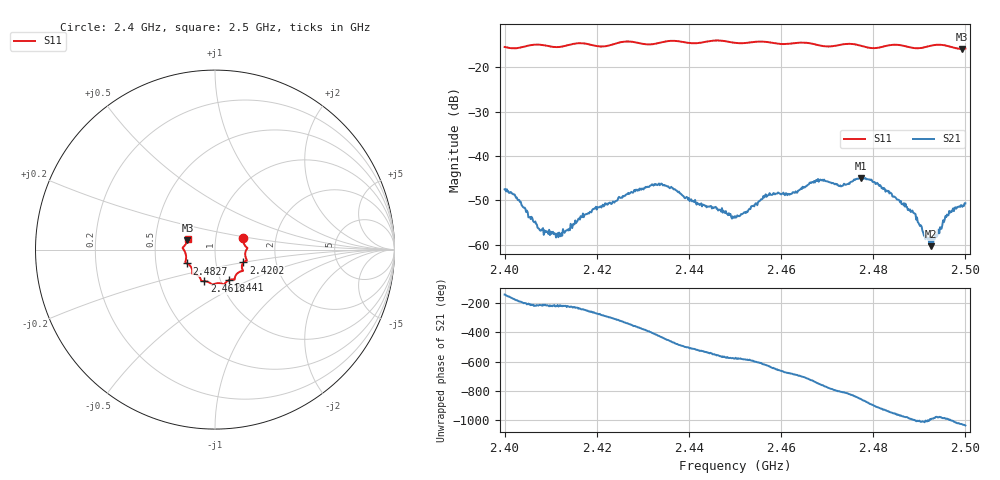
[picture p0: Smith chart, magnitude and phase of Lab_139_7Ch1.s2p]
# Hz S RI R
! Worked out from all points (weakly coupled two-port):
!   601 points, 2.4 GHz to 2.5 GHz, reference 50 ohm
!   highest |S21| = -44.97 dB at 2.4773 GHz (marker M1); lowest = -60.4 dB at 2.4925 GHz (marker M2)
!   lowest |S11| = -15.8 dB at 2.4993 GHz (marker M3), VSWR 1.39, Z = 36.5 + j3.84 ohm
!   |S11| at or under -10 dB: start of sweep to end of sweep
!   S12 and S22 are empty: the file has one direction only
!   S11 on the Smith chart (normalised r, x): 2.4 GHz: 1.36, +0.18; 2.4202 GHz: 1.36, -0.20; 2.441 GHz: 1.10, -0.39; 2.4618 GHz: 0.84, -0.30; 2.4827 GHz: 0.72, -0.12; 2.5 GHz: 0.73, +0.09
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2.4e9  0.1582 0.0626  -0.00337 -0.0025  0 0  0 0
2.402167e9  0.1603 0.0367  -0.00367 -0.000196  0 0  0 0
2.409e9  0.1761 0.00168  -0.00112 0.000875  0 0  0 0
2.412e9  0.1681 -0.028  -0.00104 0.000753  0 0  0 0
2.416667e9  0.1775 -0.0606  -0.000873 0.00184  0 0  0 0
2.420167e9  0.1583 -0.0713  0.000187 0.00265  0 0  0 0
2.433333e9  0.1119 -0.151  0.00207 -0.00431  0 0  0 0
2.441e9  0.0785 -0.1698  -0.00276 -0.00135  0 0  0 0
2.45e9  0.0283 -0.1873  -0.00161 0.00134  0 0  0 0
2.457e9  -0.0198 -0.1925  -0.000169 0.00357  0 0  0 0
2.461833e9  -0.0591 -0.1756  0.00274 0.00242  0 0  0 0
2.466667e9  -0.0785 -0.1683  0.00501 -0.000682  0 0  0 0
2.473e9  -0.12 -0.1345  0.000232 -0.00453  0 0  0 0
2.477333e9  -0.1265 -0.1217  -0.00405 -0.00393  0 0  0 0
2.482667e9  -0.1561 -0.0774  -0.00332 0.00213  0 0  0 0
2.483333e9  -0.1605 -0.0755  -0.00313 0.00255  0 0  0 0
2.488667e9  -0.1608 -0.0412  0.000273 0.00228  0 0  0 0
2.491333e9  -0.1695 -0.00811  0.000252 0.00112  0 0  0 0
2.4925e9  -0.1757 0.00174  7.91e-05 0.000955  0 0  0 0
2.496167e9  -0.1734 0.0176  7.08e-05 0.00213  0 0  0 0
2.499333e9  -0.1537 0.0513  0.00167 0.00208  0 0  0 0
2.5e9  -0.1522 0.0606  0.00209 0.00204  0 0  0 0
